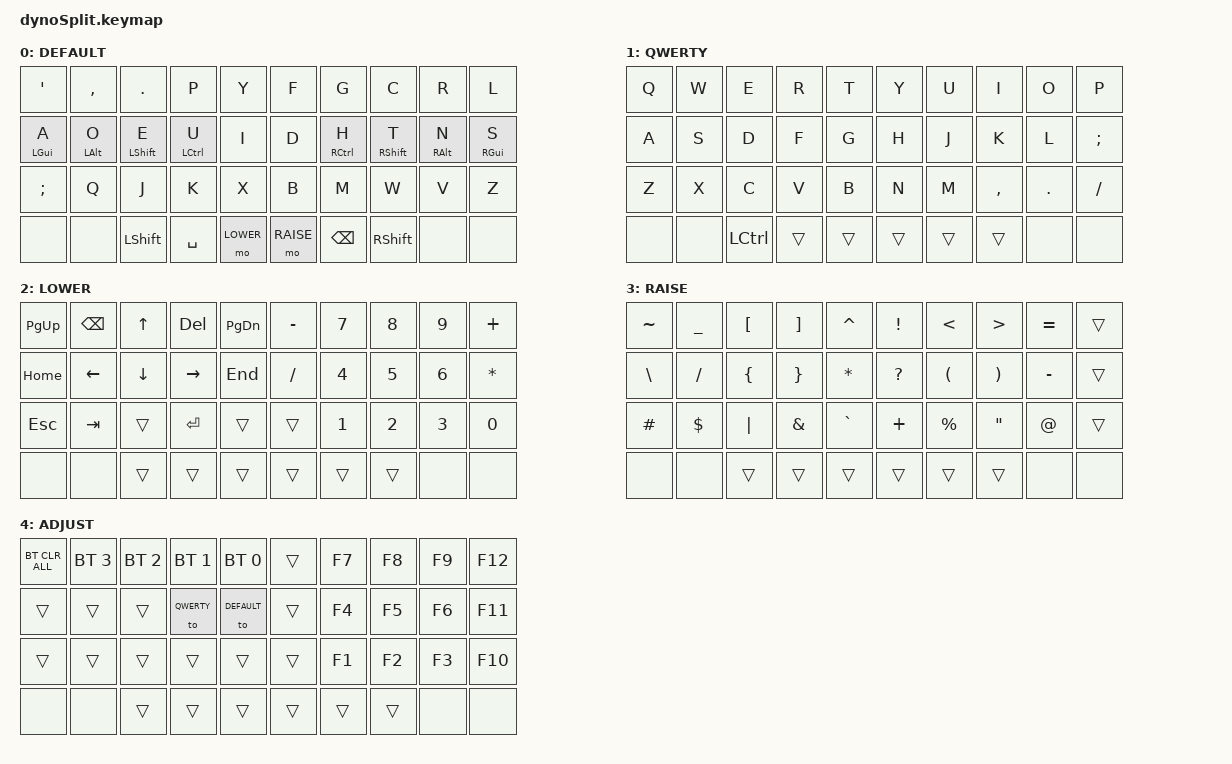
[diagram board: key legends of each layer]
/*
 * Copyright (c) 2020 The ZMK Contributors
 *
 * SPDX-License-Identifier: MIT
 */

#include <behaviors.dtsi>
#include <dt-bindings/zmk/keys.h>
#include <dt-bindings/zmk/bt.h>

#define DEFAULT 0
#define QWERTY  1
#define LOWER   2
#define RAISE   3
#define ADJUST  4

/ {
    behaviors {
        hml: home_row_mod_left {
            compatible = "zmk,behavior-hold-tap";
            #binding-cells = <2>;
            flavor = "balanced";
            require-prior-idle-ms = <150>;
            tapping-term-ms = <280>;
            quick-tap-ms = <175>;
            bindings = <&kp>, <&kp>;
            hold-trigger-key-positions = <5 6 7 8 9 15 16 17 18 19 25 26 27 28 29 30 31 32 33 34 35>; // List of keys on the right side of the keyboard
            hold-trigger-on-release;
        };
        hmr: home_row_mod_right {
            compatible = "zmk,behavior-hold-tap";
            #binding-cells = <2>;
            flavor = "balanced";
            require-prior-idle-ms = <150>;
            tapping-term-ms = <280>;
            quick-tap-ms = <175>;
            bindings = <&kp>, <&kp>;
            hold-trigger-key-positions = <0 1 2 3 4 10 11 12 13 14 20 21 22 23 24 30 31 32 33 34 35>; // List of keys on the left side of the keyboard
            hold-trigger-on-release;
        };
    };
};

/ {
    conditional_layers {
        compatible = "zmk,conditional-layers";
        tri_layer {
            if-layers = <2 3>;
            then-layer = <4>;
        };
    };
};
/ {
        keymap {
                compatible = "zmk,keymap";

                DEFAULT {
// -----------------------------------------------------------------------------------------
// |  '  |  ,  |  .  |  p  |  y  |   |  f  |  g     |  c  |  r  |  l  |
// |  a  |  o  |  e  |  u  |  i  |   |  d  |  h     |  t  |  n  |  s  |
// |  ;  |  q  |  j  |  k  |  x  |   |  b  |  m     |  w  |  v  |  z  |
//             |SHFT | SPC | LWR |   | RSE | BCKSPC | SHFT|
                        bindings = <
   &kp APOS     &kp COMMA    &kp DOT        &kp P         &kp Y       &kp F           &kp G            &kp C          &kp R        &kp L   
   &hml LGUI A  &hml LALT O  &hml LSHIFT E  &hml LCTRL U  &kp I       &kp D           &hmr RCTRL H     &hmr RSHFT T   &hmr RALT N  &hmr RGUI S
   &kp SEMI     &kp Q        &kp J          &kp K         &kp X       &kp B           &kp M            &kp W          &kp V        &kp Z
   &none        &none        &kp LSHIFT     &kp SPACE     &mo LOWER   &mo RAISE       &kp BSPC         &kp RSHFT      &none        &none 
                        >;
                };
                QWERTY {
// -----------------------------------------------------------------------------------------
// |  q  |  w  |  e  |  r  |  t  |   |  y  |  u     |  i  |  o  |  p  |
// |  a  |  s  |  d  |  f  |  g  |   |  h  |  j     |  k  |  l  |  ;  |
// |  z  |  x  |  c  |  v  |  b  |   |  n  |  m     |  ,  |  .  |  /  |
//             |LCTRL|     |     |   |     |        |     |
                        bindings = <
   &kp Q    &kp W   &kp E     &kp R  &kp T       &kp Y   &kp U    &kp I       &kp O   &kp P   
   &kp A    &kp S   &kp D     &kp F  &kp G       &kp H   &kp J    &kp K       &kp L   &kp SEMI
   &kp Z    &kp X   &kp C     &kp V  &kp B       &kp N   &kp M    &kp COMMA   &kp DOT &kp FSLH
   &none    &none   &kp LCTRL &trans &trans      &trans  &trans   &trans      &none   &none
                        >;
                };

                LOWER {
// -----------------------------------------------------------------------------------------
// | PGUP|BKSP | UP  | DEL | PGDN|   |  -  |  7   |  8  |  9  |  +  |
// | HOME| LEFT|DOWN |RIGHT| END |   |  /  |  4   |  5  |  6  |  *  |
// | ESC | TAB |     |ENTER|     |   |     |  1   |  2  |  3  |  0  |
//             |     |     |     |   |     |      |     |
                        bindings = <
   &kp PG_UP &kp BSPC &kp UP   &kp DEL   &kp PG_DN   &kp MINUS &kp N7  &kp N8     &kp N9   &kp PLUS   
   &kp HOME  &kp LEFT &kp DOWN &kp RIGHT &kp END     &kp SLASH &kp N4  &kp N5     &kp N6   &kp STAR
   &kp ESC   &kp TAB  &trans   &kp ENTER &trans      &trans    &kp N1  &kp N2     &kp N3   &kp N0
   &none     &none    &trans   &trans    &trans      &trans    &trans  &trans     &none    &none
                        >;
                };
                RAISE {
// -----------------------------------------------------------------------------------------
// |  ~  |  _  |  [  |  ]  |  ^  |   |  !  |  <   |  >  |  =  |     |
// |  \  |  /  |  {  |  }  |  *  |   |  ?  |  (   |  )  |  -  |     |
// |  #  |  $  |  |  |  &  |  `  |   |  +  |  %   |  "  |  @  |     |
//             |     |     |     |   |     |      |     |
                        bindings = <
   &kp TILDE &kp UNDER &kp LBKT &kp RBKT &kp CARET   &kp EXCL  &kp LT    &kp GT     &kp EQUAL   &trans   
   &kp BSLH  &kp FSLH  &kp LBRC &kp RBRC &kp STAR    &kp QMARK &kp LPAR  &kp RPAR   &kp MINUS   &trans
   &kp HASH  &kp DLLR  &kp PIPE &kp AMPS &kp GRAVE   &kp PLUS  &kp PRCNT &kp DQT    &kp AT      &trans
   &none     &none     &trans   &trans   &trans      &trans    &trans    &trans     &none       &none
                        >;
                };
                ADJUST {
// -----------------------------------------------------------------------------------------
// | clr  | bt3 | bt2 | bt1 | bt0 |   |     |   F7 |   F8   | F9  | F12 |
// |     |     |     |QWER | DEF |   |     |   F4 |   F5   | F6  | F11 |
// |     |     |     |     |     |   |     |   F1 |   F2   | F3  | F10 |
//             |     |     |     |   |     |      |        |
                        bindings = <
   &bt BT_CLR_ALL  &bt BT_SEL 3 &bt BT_SEL 2 &bt BT_SEL 1 &bt BT_SEL 0   &trans  &kp F7  &kp F8   &kp F9   &kp F12   
   &trans          &trans       &trans       &to QWERTY   &to DEFAULT    &trans  &kp F4  &kp F5   &kp F6   &kp F11
   &trans          &trans       &trans       &trans       &trans         &trans  &kp F1  &kp F2   &kp F3   &kp F10
   &none           &none        &trans       &trans       &trans         &trans  &trans  &trans   &none    &none
                        >;
                };


        };
};
